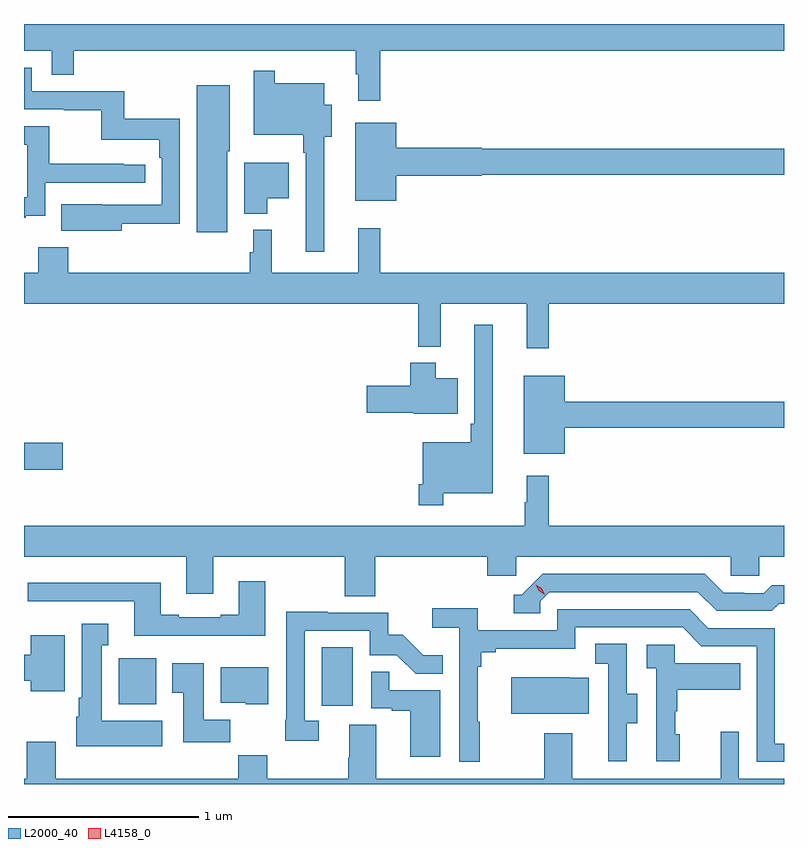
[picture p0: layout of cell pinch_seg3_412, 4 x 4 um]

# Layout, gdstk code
import gdstk
lib = gdstk.Library(unit=1e-6, precision=1e-09)
def R(c, l, rs):  # rectangles x0, y0, x1, y1
    for r in rs: c.add(gdstk.rectangle(r[:2], r[2:], *l))
def P(c, l, *ps):  # polygons
    for p in ps: c.add(gdstk.Polygon(p, *l))
L2000_40 = (2000, 40)
L4158_0 = (4158, 0)

pinch_seg3_412 = lib.new_cell('pinch_seg3_412')
R(pinch_seg3_412, L2000_40, [(890.372,689.478,890.536,689.785), (889.304,689.486,889.501,689.728), (888.806,690.718,889.009,690.86)])
P(pinch_seg3_412, L2000_40, [(888.806,692.924),(888.951,692.924),(888.951,692.797),(889.067,692.797),(889.067,692.924),(890.553,692.924),(890.553,692.801),(890.564,692.801),(890.564,692.661),(890.681,692.661),(890.681,692.924),(892.806,692.924),(892.806,693.065),(888.806,693.065)],
  [(889.321,692.014),(889.626,692.014),(889.626,692.566),(889.333,692.566),(889.333,692.712),(888.846,692.712),(888.846,692.835),(888.806,692.835),(888.806,692.616),(889.015,692.616),(889.015,692.611),(889.212,692.611),(889.212,692.456),(889.517,692.456),(889.517,692.36),(889.53,692.36),(889.53,692.115),(889.217,692.115),(889.217,692.116),(889.003,692.116),(889.003,691.976),(889.321,691.976)],
  [(890.386,692.471),(890.425,692.471),(890.425,692.641),(890.386,692.641),(890.386,692.752),(890.125,692.752),(890.125,692.818),(890.016,692.818),(890.016,692.483),(890.277,692.483),(890.277,692.387),(890.289,692.387),(890.289,691.866),(890.386,691.866)],
  [(889.876,692.394),(889.888,692.394),(889.888,692.743),(889.715,692.743),(889.715,691.968),(889.876,691.968)],
  [(890.764,692.267),(891.216,692.267),(891.216,692.272),(892.806,692.272),(892.806,692.408),(891.216,692.408),(891.216,692.414),(890.764,692.414),(890.764,692.545),(890.549,692.545),(890.549,692.135),(890.764,692.135)],
  [(888.815,692.057),(888.918,692.057),(888.918,692.229),(889.444,692.229),(889.444,692.325),(889.331,692.325),(889.331,692.33),(888.938,692.33),(888.938,692.526),(888.806,692.526),(888.806,692.43),(888.822,692.43),(888.822,692.154),(888.806,692.154),(888.806,692.046),(888.815,692.046)],
  [(890.086,692.147),(890.2,692.147),(890.2,692.335),(889.964,692.335),(889.964,692.066),(890.086,692.066)],
  [(891.569,691.592),(892.806,691.592),(892.806,691.756),(890.681,691.756),(890.681,691.99),(890.564,691.99),(890.564,691.756),(890.111,691.756),(890.111,691.981),(890.012,691.981),(890.012,691.863),(889.993,691.863),(889.993,691.756),(889.04,691.756),(889.04,691.891),(888.88,691.891),(888.88,691.756),(888.806,691.756),(888.806,691.592),(890.881,691.592),(890.881,691.367),(890.999,691.367),(890.999,691.592),(891.452,691.592),(891.452,691.359),(891.569,691.359)],
  [(891.013,690.596),(891.274,690.596),(891.274,691.483),(891.177,691.483),(891.177,690.961),(891.157,690.961),(891.157,690.865),(890.904,690.865),(890.904,690.643),(890.884,690.643),(890.884,690.531),(891.013,690.531)],
  [(891.088,691.201),(890.974,691.201),(890.974,691.282),(890.84,691.282),(890.84,691.161),(890.61,691.161),(890.61,691.019),(890.856,691.019),(890.856,691.013),(891.088,691.013)],
  [(891.652,690.94),(892.806,690.94),(892.806,691.076),(891.652,691.076),(891.652,691.213),(891.437,691.213),(891.437,690.803),(891.652,690.803)],
  [(890.654,690.26),(891.245,690.26),(891.245,690.162),(891.396,690.162),(891.396,690.26),(892.527,690.26),(892.527,690.162),(892.677,690.162),(892.677,690.26),(892.806,690.26),(892.806,690.424),(891.569,690.424),(891.569,690.688),(891.452,690.688),(891.452,690.548),(891.441,690.548),(891.441,690.424),(888.806,690.424),(888.806,690.26),(889.661,690.26),(889.661,690.066),(889.801,690.066),(889.801,690.26),(890.494,690.26),(890.494,690.052),(890.654,690.052)],
  [(891.522,690.027),(891.57,690.075),(892.353,690.075),(892.452,689.976),(892.741,689.976),(892.78,690.015),(892.806,690.015),(892.806,690.112),(892.741,690.112),(892.699,690.069),(892.596,690.069),(892.596,690.072),(892.489,690.072),(892.39,690.171),(891.537,690.171),(891.426,690.06),(891.383,690.06),(891.383,689.964),(891.522,689.964)],
  [(890.077,690.133),(889.937,690.133),(889.937,689.956),(889.841,689.956),(889.841,689.943),(889.621,689.943),(889.621,689.956),(889.525,689.956),(889.525,690.124),(888.825,690.124),(888.825,690.027),(889.385,690.027),(889.385,689.846),(890.077,689.846)],
  [(891.205,689.393),(891.193,689.393),(891.193,689.681),(891.212,689.681),(891.212,689.758),(891.289,689.758),(891.289,689.777),(891.708,689.777),(891.708,689.889),(892.272,689.889),(892.371,689.79),(892.662,689.79),(892.662,689.181),(892.806,689.181),(892.806,689.277),(892.758,689.277),(892.758,689.886),(892.408,689.886),(892.309,689.985),(891.612,689.985),(891.612,689.874),(891.194,689.874),(891.194,689.99),(890.955,689.99),(890.955,689.888),(891.096,689.888),(891.096,689.181),(891.205,689.181)],
  [(890.356,689.397),(890.283,689.397),(890.283,689.871),(890.625,689.871),(890.625,689.742),(890.769,689.742),(890.867,689.644),(891.011,689.644),(891.011,689.743),(890.907,689.743),(890.8,689.85),(890.724,689.85),(890.724,689.967),(890.405,689.967),(890.405,689.972),(890.187,689.972),(890.187,689.404),(890.182,689.404),(890.182,689.292),(890.356,689.292)],
  [(889.534,689.398),(889.216,689.398),(889.216,689.795),(889.249,689.795),(889.249,689.908),(889.109,689.908),(889.109,689.518),(889.094,689.518),(889.094,689.418),(889.082,689.418),(889.082,689.264),(889.534,689.264)],
  [(889.021,689.848),(888.842,689.848),(888.842,689.744),(888.806,689.744),(888.806,689.608),(888.842,689.608),(888.842,689.552),(889.021,689.552)],
  [(891.979,689.386),(892.033,689.386),(892.033,689.541),(891.978,689.541),(891.978,689.804),(891.813,689.804),(891.813,689.697),(891.882,689.697),(891.882,689.397),(891.881,689.397),(891.881,689.184),(891.979,689.184)],
  [(892.258,689.328),(892.233,689.328),(892.233,689.447),(892.243,689.447),(892.243,689.561),(892.577,689.561),(892.577,689.701),(892.23,689.701),(892.23,689.799),(892.083,689.799),(892.083,689.675),(892.134,689.675),(892.134,689.184),(892.258,689.184)],
  [(889.892,689.404),(889.753,689.404),(889.753,689.701),(889.586,689.701),(889.586,689.545),(889.643,689.545),(889.643,689.286),(889.892,689.286)],
  [(890.092,689.68),(889.841,689.68),(889.841,689.492),(889.974,689.492),(889.974,689.486),(890.092,689.486)],
  [(890.998,689.559),(890.729,689.559),(890.729,689.657),(890.634,689.657),(890.634,689.463),(890.741,689.463),(890.741,689.451),(890.84,689.451),(890.84,689.208),(890.998,689.208)],
  [(891.779,689.623),(891.677,689.623),(891.677,689.626),(891.371,689.626),(891.371,689.435),(891.779,689.435)],
  [(892.806,689.092),(892.569,689.092),(892.569,689.341),(892.472,689.341),(892.472,689.092),(891.691,689.092),(891.691,689.332),(891.544,689.332),(891.544,689.092),(890.659,689.092),(890.659,689.378),(890.519,689.378),(890.519,689.204),(890.512,689.204),(890.512,689.092),(890.085,689.092),(890.085,689.216),(889.933,689.216),(889.933,689.092),(888.973,689.092),(888.973,689.287),(888.821,689.287),(888.821,689.092),(888.806,689.092),(888.806,689.065),(892.806,689.065)])
P(pinch_seg3_412, L4158_0, [(891.546,690.062),(891.516,690.081),(891.5,690.114),(891.5,690.114),(891.5,690.114),(891.531,690.094),(891.546,690.062),(891.546,690.062)])

lib.write_gds('pinch_seg3_412.gds')
